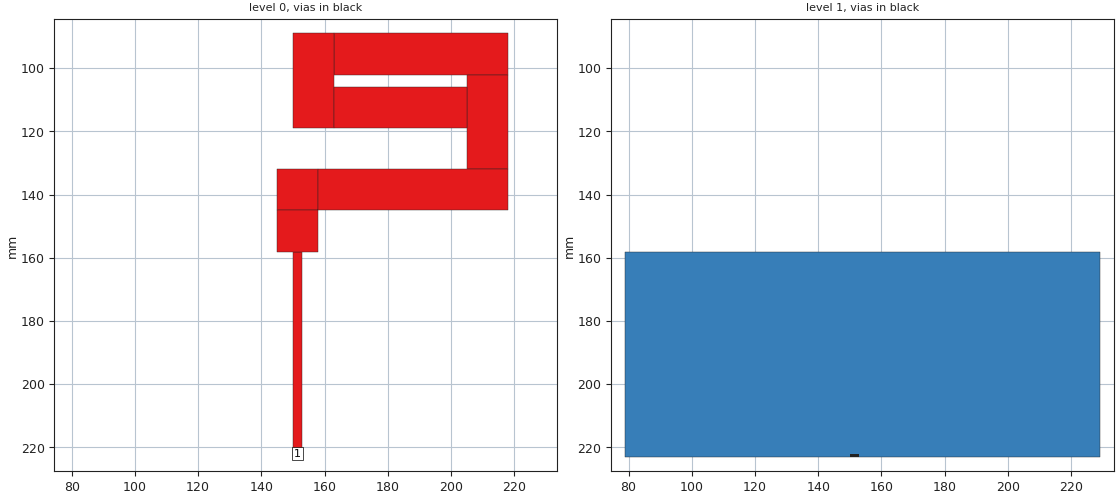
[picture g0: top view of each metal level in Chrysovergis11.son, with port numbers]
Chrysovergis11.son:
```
FTYP SONPROJ 3 ! Sonnet Project File
VER 11.54
HEADER
LIC Sonn.1.12345
DAT 05/22/2016 13:25:56
BUILT_BY_CREATED xgeom 11.54 05/15/2016 15:53:35
BUILT_BY_SAVED xgeom 11.54
MDATE 05/22/2016 13:25:56
HDATE 05/22/2016 13:25:56
END HEADER
DIM
FREQ GHZ
IND NH
LNG MM
ANG DEG
CON /OH
CAP PF
RES OH
END DIM
FREQ
ABS 0.1 1.0 
END FREQ
CONTROL
ABS
OPTIONS  -d 
SPEED 0
CACHE_ABS 1
TARG_ABS 300
Q_ACC N
END CONTROL
GEO
TMET "Free Space" 0 FREESPACE 376.7303136 0 0 0
BMET "Free Space" 0 FREESPACE 376.7303136 0 0 0
BOX 2 300 300 600 600 20 0
      20 1 1 0 0 0 0 "Air"
      1.6 4.2 1 0.02 0 0 0 "FR4"
      20 1 1 0 0 0 0 "Air"
POR1 STD
POLY 8 1
0
1 50 0 0 0 151.5000009 222.0000007 
NUM 10
VIA POLYGON
0 5 -1 N 8 1 1 100 100 0 0 0 Y
TOLEVEL 1
150.0000009 222.0000007
153.0000009 222.0000007
153.0000009 223.0000007
150.0000009 223.0000007
150.0000009 222.0000007
END
0 5 -1 N 10 1 1 100 100 0 0 0 Y
150.0000074 158.0000077
153.0000074 158.0000077
153.0000074 223.0000077
150.0000074 223.0000077
150.0000074 158.0000077
END
0 5 -1 N 11 1 1 100 100 0 0 0 Y
145.0000014 132.0000022
158.0000014 132.0000022
158.0000014 145.0000022
145.0000014 145.0000022
145.0000014 132.0000022
END
0 5 -1 N 12 1 1 100 100 0 0 0 Y
163.0000074 89.0000001
218.0000074 89.0000001
218.0000074 102.0000001
163.0000074 102.0000001
163.0000074 89.0000001
END
0 5 -1 N 13 1 1 100 100 0 0 0 Y
204.9999967 102.0000015
217.9999967 102.0000015
217.9999967 132.0000015
204.9999967 132.0000015
204.9999967 102.0000015
END
0 5 -1 N 14 1 1 100 100 0 0 0 Y
145.0000014 145.0000022
158.0000014 145.0000022
158.0000014 158.0000022
145.0000014 158.0000022
145.0000014 145.0000022
END
0 5 -1 N 15 1 1 100 100 0 0 0 Y
149.9999967 89.0000015
162.9999967 89.0000015
162.9999967 119.0000015
149.9999967 119.0000015
149.9999967 89.0000015
END
0 5 -1 N 16 1 1 100 100 0 0 0 Y
163.0000006 106.000003
205.0000006 106.000003
205.0000006 119.000003
163.0000006 119.000003
163.0000006 106.000003
END
0 5 -1 N 17 1 1 100 100 0 0 0 Y
158.0000103 132.0000054
218.0000103 132.0000054
218.0000103 145.0000054
158.0000103 145.0000054
158.0000103 132.0000054
END
1 5 -1 N 22 1 1 100 100 0 0 0 Y
78.99999713 157.9999938
228.9999971 157.9999938
228.9999971 222.9999938
78.99999713 222.9999938
78.99999713 157.9999938
END
END GEO
OPT
MAX 100
VARS
END OPT
VARSWP
END VARSWP
QSG
IMPORT NO
EXTRA_METAL NO
UNITS YES
ALIGN NO
REF NO
VIEW_RES YES
METALS NO
USED YES
END QSG
```
